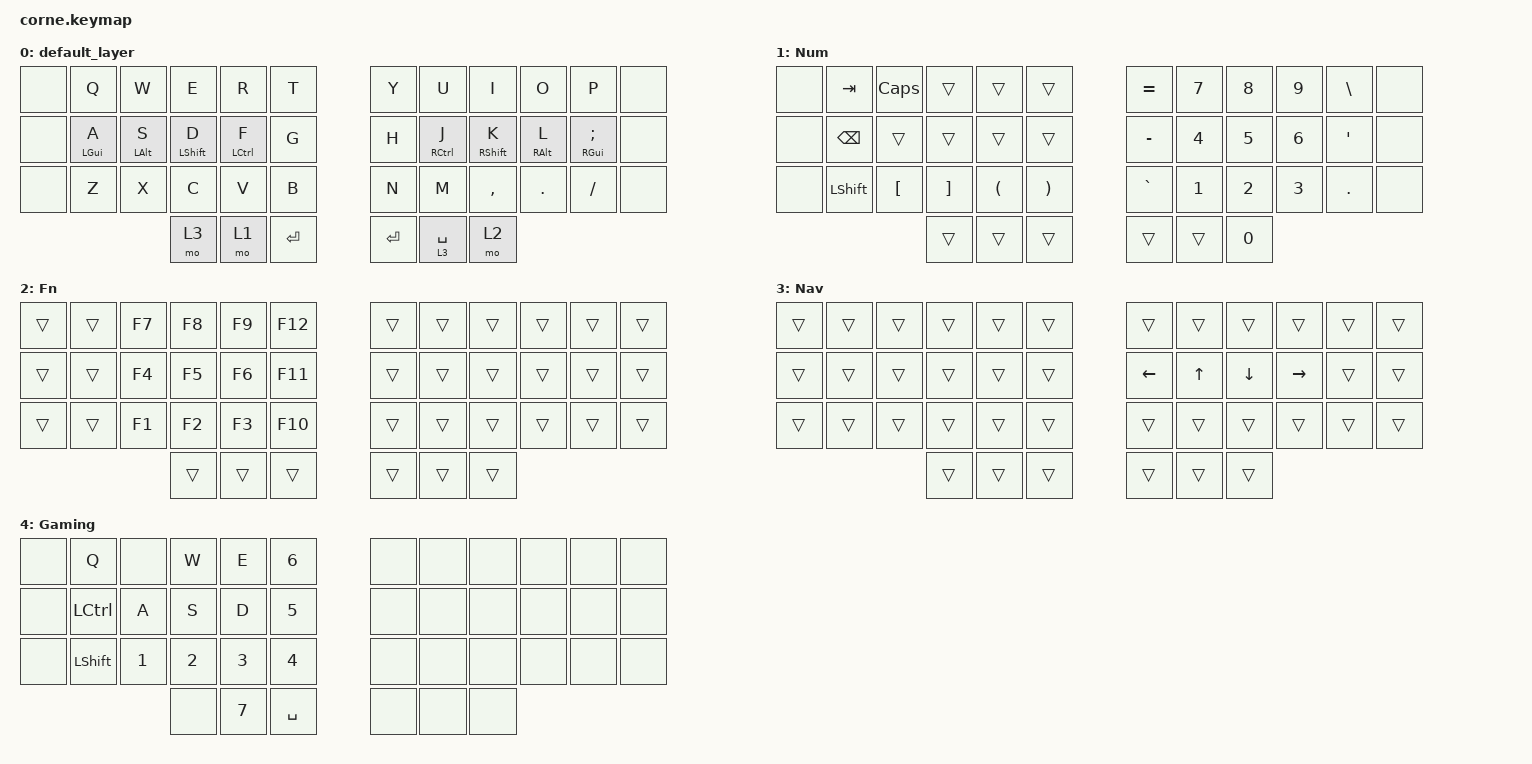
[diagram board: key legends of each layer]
/*
 * Copyright (c) 2020 The ZMK Contributors
 *
 * SPDX-License-Identifier: MIT
 */

#include <behaviors.dtsi>
#include <dt-bindings/zmk/keys.h>

/ {
    combos {
        compatible = "zmk,combos";

        escape {
            bindings = <&kp ESCAPE>;
            key-positions = <1 2>;
        };

        Gaming_layer {
            bindings = <&tog 4>;
            key-positions = <10 6 34 30>;
        };
    };

    behaviors {
        HrmL: HrmL {
            compatible = "zmk,behavior-hold-tap";
            label = "HRML";
            bindings = <&kp>, <&kp>;

            #binding-cells = <2>;
            tapping-term-ms = <280>;
            flavor = "balanced";
            quick-tap-ms = <175>;
            hold-trigger-on-release;
            hold-trigger-key-positions = <6 7 8 9 10 11 18 19 20 21 22 23 30 31 32 33 34 35 39 40 41 38 37 36>;
        };

        hrmr: hrmr {
            compatible = "zmk,behavior-hold-tap";
            label = "HRMR";
            bindings = <&kp>, <&kp>;

            #binding-cells = <2>;
            tapping-term-ms = <280>;
            quick-tap-ms = <175>;
            flavor = "balanced";
            hold-trigger-on-release;
            hold-trigger-key-positions = <0 1 2 3 4 5 12 13 14 15 16 17 24 25 26 27 28 29 36 37 38 39 40 41>;
        };
    };

    keymap {
        compatible = "zmk,keymap";

        default_layer {
            // -----------------------------------------------------------------------------------------
            // |  ---  |     Q      |     W      |     E       |      R      |  T  |   |  Y  |      U      |      I      |      O     |      P      |  ---  |
            // |  ---  | GUI(A)     | ALT(S)     | SHFT(D)     | CTRL(F)     |  G  |   |  H  | CTRL(J)     | SHFT(K)     | ALT(L)     | GUI(;)      |  ---  |
            // |  ---  |     Z      |     X      |     C       |      V      |  B  |   |  N  |      M      |      ,      |      .     |      /      |  ---  |
            //                                   | NAV(hold)   | NUM(hold)   | ENT |   | ENT | SPC/NAV     | FN(hold)    |

            bindings = <
        &none  &kp Q             &kp W             &kp E               &kp R                 &kp T        &kp Y      &kp U                  &kp I                &kp O              &kp P              &none
        &none  &HrmL LEFT_GUI A  &HrmL LEFT_ALT S  &HrmL LEFT_SHIFT D  &HrmL LEFT_CONTROL F  &kp G        &kp H      &hrmr RIGHT_CONTROL J  &hrmr RIGHT_SHIFT K  &hrmr RIGHT_ALT L  &hrmr RIGHT_GUI SEMICOLON  &none
        &none  &kp Z             &kp X             &kp C               &kp V                 &kp B        &kp N      &kp M                  &kp COMMA            &kp DOT            &kp FSLH           &none
                                                   &mo 3               &mo 1                 &kp ENTER    &kp ENTER  &lt 3 SPACE            &mo 2
            >;
         };

        Num {
            bindings = <
&none  &kp TAB         &kp CAPSLOCK      &trans             &trans                &trans                   &kp EQUAL  &kp N7  &kp N8  &kp N9  &kp BSLH          &none
&none  &kp BACKSPACE   &trans            &trans             &trans                &trans                   &kp MINUS  &kp N4  &kp N5  &kp N6  &kp SINGLE_QUOTE  &none
&none  &kp LEFT_SHIFT  &kp LEFT_BRACKET  &kp RIGHT_BRACKET  &kp LEFT_PARENTHESIS  &kp RIGHT_PARENTHESIS    &kp GRAVE  &kp N1  &kp N2  &kp N3  &kp DOT           &none
                                         &trans             &trans                &trans                   &trans     &trans  &kp N0
            >;
        };

        Fn {
            bindings = <
&trans  &trans  &kp F7  &kp F8  &kp F9  &kp F12    &trans  &trans  &trans  &trans  &trans  &trans
&trans  &trans  &kp F4  &kp F5  &kp F6  &kp F11    &trans  &trans  &trans  &trans  &trans  &trans
&trans  &trans  &kp F1  &kp F2  &kp F3  &kp F10    &trans  &trans  &trans  &trans  &trans  &trans
                        &trans  &trans  &trans     &trans  &trans  &trans
            >;
        };

        Nav {
            bindings = <
&trans  &trans  &trans  &trans  &trans  &trans    &trans    &trans  &trans    &trans     &trans  &trans
&trans  &trans  &trans  &trans  &trans  &trans    &kp LEFT  &kp UP  &kp DOWN  &kp RIGHT  &trans  &trans
&trans  &trans  &trans  &trans  &trans  &trans    &trans    &trans  &trans    &trans     &trans  &trans
                        &trans  &trans  &trans    &trans    &trans  &trans
            >;
        };

        Gaming {
            bindings = <
&none  &kp Q      &none         &kp W         &kp E         &kp NUMBER_6    &none  &none  &none  &none  &none  &none
&none  &kp LCTRL  &kp A         &kp S         &kp D         &kp N5          &none  &none  &none  &none  &none  &none
&none  &kp LSHFT  &kp NUMBER_1  &kp NUMBER_2  &kp NUMBER_3  &kp NUMBER_4    &none  &none  &none  &none  &none  &none
                                &none         &kp N7        &kp SPACE       &none  &none  &none
            >;
        };
    };
};
